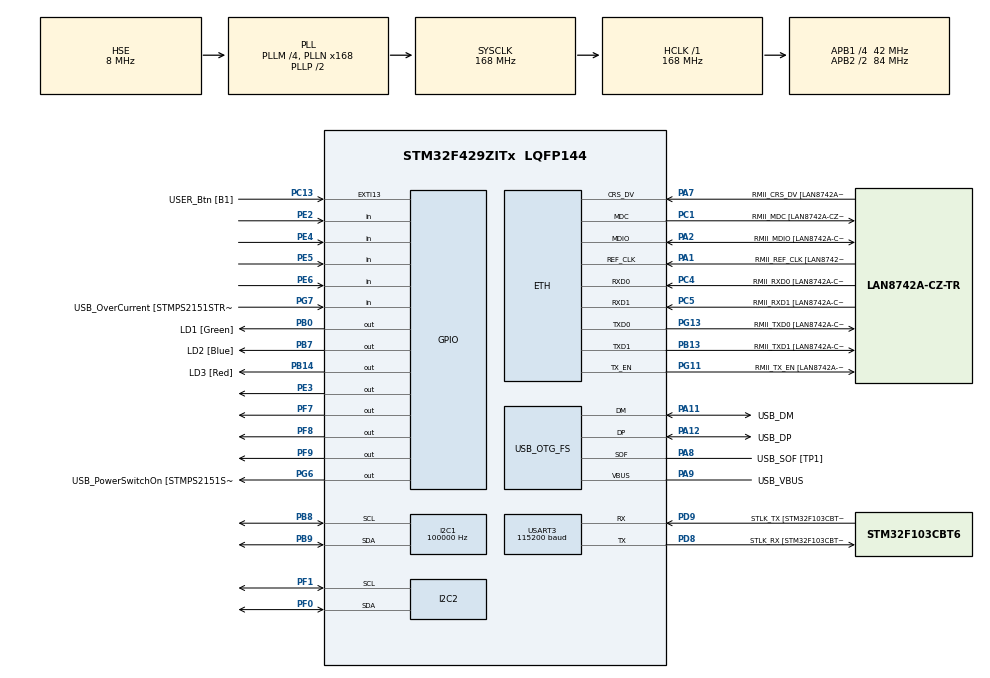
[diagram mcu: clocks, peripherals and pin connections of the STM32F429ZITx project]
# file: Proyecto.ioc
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ETH.MediaInterface=HAL_ETH_RMII_MODE
ETH.PHY_Name=LAN8742A_PHY_ADDRESS
ETH.PHY_Value=0
ETH.PhyAddress=0
I2C1.ClockSpeed=100000
I2C1.OwnAddress=0x0
Mcu.Family=STM32F4
Mcu.Name=STM32F429ZITx
Mcu.Package=LQFP144
NVIC.PriorityGroup=NVIC_PRIORITYGROUP_4
PA1.GPIO_Label=RMII_REF_CLK [LAN8742A-CZ-TR_REFCLK0]
PA1.Mode=RMII
PA1.Signal=ETH_REF_CLK
PA10.GPIO_Label=USB_ID
PA10.Signal=USB_OTG_FS_ID
PA11.GPIO_Label=USB_DM
PA11.Mode=Device_Only
PA11.Signal=USB_OTG_FS_DM
PA12.GPIO_Label=USB_DP
PA12.Mode=Device_Only
PA12.Signal=USB_OTG_FS_DP
PA13.GPIO_Label=TMS
PA13.Mode=Serial_Wire
PA13.Signal=SYS_JTMS-SWDIO
PA14.GPIO_Label=TCK
PA14.Mode=Serial_Wire
PA14.Signal=SYS_JTCK-SWCLK
PA2.GPIO_Label=RMII_MDIO [LAN8742A-CZ-TR_MDIO]
PA2.Mode=RMII
PA2.Signal=ETH_MDIO
PA7.GPIO_Label=RMII_CRS_DV [LAN8742A-CZ-TR_CRS_DV]
PA7.Mode=RMII
PA7.Signal=ETH_CRS_DV
PA8.GPIO_Label=USB_SOF [TP1]
PA8.Mode=Activate_SOF_FS
PA8.Signal=USB_OTG_FS_SOF
PA9.GPIO_Label=USB_VBUS
PA9.Mode=Activate_VBUS
PA9.Signal=USB_OTG_FS_VBUS
PB0.GPIO_Label=LD1 [Green]
PB0.Signal=GPIO_Output
PB13.GPIO_Label=RMII_TXD1 [LAN8742A-CZ-TR_TXD1]
PB13.Mode=RMII
PB13.Signal=ETH_TXD1
PB14.GPIO_Label=LD3 [Red]
PB14.Signal=GPIO_Output
PB7.GPIO_Label=LD2 [Blue]
PB7.Signal=GPIO_Output
PB8.GPIO_Pu=GPIO_PULLUP
PB8.Mode=I2C
PB8.Signal=I2C1_SCL
PB9.GPIO_Pu=GPIO_PULLUP
PB9.Mode=I2C
PB9.Signal=I2C1_SDA
PC1.GPIO_Label=RMII_MDC [LAN8742A-CZ-TR_MDC]
PC1.Mode=RMII
PC1.Signal=ETH_MDC
PC13.GPIO_Label=USER_Btn [B1]
PC13.Signal=GPXTI13
PC14/OSC32_IN.Mode=LSE-External-Oscillator
PC14/OSC32_IN.Signal=RCC_OSC32_IN
PC15/OSC32_OUT.Mode=LSE-External-Oscillator
PC15/OSC32_OUT.Signal=RCC_OSC32_OUT
PC4.GPIO_Label=RMII_RXD0 [LAN8742A-CZ-TR_RXD0]
PC4.Mode=RMII
PC4.Signal=ETH_RXD0
PC5.GPIO_Label=RMII_RXD1 [LAN8742A-CZ-TR_RXD1]
PC5.Mode=RMII
PC5.Signal=ETH_RXD1
PD8.GPIO_Label=STLK_RX [STM32F103CBT6_PA3]
PD8.Mode=Asynchronous
PD8.Signal=USART3_TX
PD9.GPIO_Label=STLK_TX [STM32F103CBT6_PA2]
PD9.Mode=Asynchronous
PD9.Signal=USART3_RX
PE2.GPIO_PuPd=GPIO_PULLUP
PE2.Signal=GPIO_Input
PE3.GPIO_ModeDefaultOutputPP=GPIO_MODE_OUTPUT_OD
PE3.GPIO_PuPd=GPIO_PULLUP
PE3.PinState=GPIO_PIN_SET
PE3.Signal=GPIO_Output
PE4.GPIO_PuPd=GPIO_PULLUP
PE4.Signal=GPIO_Input
PE5.GPIO_PuPd=GPIO_PULLUP
PE5.Signal=GPIO_Input
PE6.GPIO_PuPd=GPIO_PULLUP
PE6.Signal=GPIO_Input
PF0.GPIO_Pu=GPIO_PULLUP
PF0.Mode=I2C
PF0.Signal=I2C2_SDA
PF1.GPIO_Pu=GPIO_PULLUP
PF1.Mode=I2C
PF1.Signal=I2C2_SCL
PF7.GPIO_ModeDefaultOutputPP=GPIO_MODE_OUTPUT_OD
PF7.GPIO_PuPd=GPIO_PULLUP
PF7.PinState=GPIO_PIN_SET
PF7.Signal=GPIO_Output
PF8.GPIO_ModeDefaultOutputPP=GPIO_MODE_OUTPUT_OD
PF8.GPIO_PuPd=GPIO_PULLUP
PF8.PinState=GPIO_PIN_SET
PF8.Signal=GPIO_Output
PF9.GPIO_ModeDefaultOutputPP=GPIO_MODE_OUTPUT_OD
PF9.GPIO_PuPd=GPIO_PULLUP
PF9.PinState=GPIO_PIN_SET
PF9.Signal=GPIO_Output
PG11.GPIO_Label=RMII_TX_EN [LAN8742A-CZ-TR_TXEN]
PG11.Mode=RMII
PG11.Signal=ETH_TX_EN
PG13.GPIO_Label=RMII_TXD0 [LAN8742A-CZ-TR_TXD0]
PG13.Mode=RMII
PG13.Signal=ETH_TXD0
PG6.GPIO_Label=USB_PowerSwitchOn [STMPS2151STR_EN]
PG6.Signal=GPIO_Output
PG7.GPIO_Label=USB_OverCurrent [STMPS2151STR_FAULT]
PG7.Signal=GPIO_Input
PH0/OSC_IN.GPIO_Label=MCO [STM32F103CBT6_PA8]
PH0/OSC_IN.Mode=HSE-External-Clock-Source
PH0/OSC_IN.Signal=RCC_OSC_IN
PH1/OSC_OUT.Mode=HSE-External-Clock-Source
PH1/OSC_OUT.Signal=RCC_OSC_OUT
ProjectManager.HeapSize=0x200
ProjectManager.StackSize=0x400
ProjectManager.TargetToolchain=STM32CubeIDE
RCC.48MHZClocksFreq_Value=48000000
RCC.AHBFreq_Value=168000000
RCC.APB1CLKDivider=RCC_HCLK_DIV4
RCC.APB1Freq_Value=42000000
RCC.APB1TimFreq_Value=84000000
RCC.APB2CLKDivider=RCC_HCLK_DIV2
RCC.APB2Freq_Value=84000000
RCC.APB2TimCLKDivider=2
RCC.APB2TimFreq_Value=168000000
RCC.CortexFreq_Value=168000000
RCC.HCLKFreq_Value=168000000
RCC.HSE_VALUE=8000000
RCC.HSI_VALUE=16000000
RCC.PLLM=4
RCC.PLLMUL=RCC_PLL_MUL9
RCC.PLLN=168
RCC.PLLQ=7
RCC.PRESCALERUSB=RCC_USBCLKSOURCE_PLL_DIV1_5
RCC.SYSCLKFreq_VALUE=168000000
RCC.SYSCLKSource=RCC_SYSCLKSOURCE_PLLCLK
RCC.SYSCLKSourceVirtual=RCC_SYSCLKSOURCE_PLLCLK
RCC.USBFreq_Value=48000000
RCC.VCOOutputFreq_Value=336000000
USART3.BaudRate=115200
USART3.VirtualMode=VM_ASYNC
USART3.WordLength=WORDLENGTH_8B
USB_OTG_FS.VirtualMode=Device_Only
board=NUCLEO-F429ZI

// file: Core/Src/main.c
/* USER CODE BEGIN Header */
/**
 ******************************************************************************
 * @file           : main.c
 * @brief          : Main program body
 ******************************************************************************
 * @attention
 *
 * Copyright (c) 2024 STMicroelectronics.
 * All rights reserved.
 *
 * This software is licensed under terms that can be found in the LICENSE file
 * in the root directory of this software component.
 * If no LICENSE file comes with this software, it is provided AS-IS.
 *
 ******************************************************************************
 */
/* USER CODE END Header */
#include "main.h"
#include "i2c.h"
#include "usart.h"
#include "gpio.h"

/* USER CODE BEGIN PM */

/* Hago overflow a 0 cuando la variable llega al límite dado */
#define INC_SATURADO(variable, limite) do { \
    (variable)++; \
    if ((variable) >= (limite)) { \
        (variable) = 0; \
    } \
} while (0)

/* Devuelvo el tamaño de un array */
#define DIM(x) (sizeof(x)/sizeof(x[0]))

/* USER CODE END PM */

/* USER CODE BEGIN PV */

static const tick_t FAST_LED_TICKS = 100;
static const tick_t SLOW_LED_TICKS = 500;

/* USER CODE END PV */

void SystemClock_Config(void);

/* USER CODE BEGIN 0 */

void presionado()
{
    uartSendString((const uint8_t*) "Flanco descendente\r\n");
}

void liberado()
{
    uartSendString((const uint8_t*) "Flanco ascendente\r\n");
}

/* USER CODE END 0 */

int main(void)
{

    /* MCU Configuration--------------------------------------------------------*/

    /* Reset of all peripherals, Initializes the Flash interface and the Systick. */
    HAL_Init();

    /* Configure the system clock */
    SystemClock_Config();

    /* Initialize all configured peripherals */
    MX_GPIO_Init();
    MX_USART3_UART_Init();
    MX_I2C1_Init();
    MX_I2C2_Init();
    /* USER CODE BEGIN 2 */

    /* Init code */
    BSP_LED_Init(LED1);
    BSP_LED_Init(LED2);
    BSP_LED_Init(LED3);
    BSP_PB_Init(BUTTON_USER, BUTTON_MODE_GPIO);

    debounceFSM_init(presionado, liberado);
    assert(uartInit());

    bool fast = false;
    delay_t led_delay;
    delayInit(&led_delay, fast ? FAST_LED_TICKS : SLOW_LED_TICKS);

    /* USER CODE END 2 */

    /* Infinite loop */
    /* USER CODE BEGIN WHILE */
    uartSendString((const uint8_t*) "Iniciando programa\r\n");

    display_Init();
    keyboard_Init();
    sensor_Init();

    display_Clear();

    delay_t temp_delay;
    delayInit(&temp_delay, 2000);

    float temp = -100.0;

    while (1) {
        /* USER CODE END WHILE */

        /* USER CODE BEGIN 3 */
        debounceFSM_update();
        display_Process();
        keyboard_Process();
        sensor_Process();

        int key = keyboard_ReadKey();
        switch (key) {
        case -1:
            break;
        case 'B':
            fast = !fast;
            break;
        case 'A': {
            temp = sensor_ReadTemp();
            int t = (int) temp;
            float fraction = temp - (float) t;
            int decimal_fraction = (int) (fraction * 100.0);
            display_Clear();
            display_Print("Temp: %d.%02d", t, decimal_fraction);
            break;
        }
        default:
            display_Clear();
            display_Print("Pressed: %c", (char) key);
        }

        if (delayRead(&led_delay)) {
            delayWrite(&led_delay, fast ? FAST_LED_TICKS : SLOW_LED_TICKS);
            BSP_LED_Toggle(LED1);
        }
    }
    /* USER CODE END 3 */
}

void SystemClock_Config(void)
{
    RCC_OscInitTypeDef RCC_OscInitStruct = { 0 };
    RCC_ClkInitTypeDef RCC_ClkInitStruct = { 0 };

    /** Configure the main internal regulator output voltage
     */
    __HAL_RCC_PWR_CLK_ENABLE();
    __HAL_PWR_VOLTAGESCALING_CONFIG(PWR_REGULATOR_VOLTAGE_SCALE1);

    /** Initializes the RCC Oscillators according to the specified parameters
     * in the RCC_OscInitTypeDef structure.
     */
    RCC_OscInitStruct.OscillatorType = RCC_OSCILLATORTYPE_HSE;
    RCC_OscInitStruct.HSEState = RCC_HSE_BYPASS;
    RCC_OscInitStruct.PLL.PLLState = RCC_PLL_ON;
    RCC_OscInitStruct.PLL.PLLSource = RCC_PLLSOURCE_HSE;
    RCC_OscInitStruct.PLL.PLLM = 4;
    RCC_OscInitStruct.PLL.PLLN = 168;
    RCC_OscInitStruct.PLL.PLLP = RCC_PLLP_DIV2;
    RCC_OscInitStruct.PLL.PLLQ = 7;
    if (HAL_RCC_OscConfig(&RCC_OscInitStruct) != HAL_OK) {
        Error_Handler();
    }

    /** Initializes the CPU, AHB and APB buses clocks
     */
    RCC_ClkInitStruct.ClockType = RCC_CLOCKTYPE_HCLK | RCC_CLOCKTYPE_SYSCLK
                    | RCC_CLOCKTYPE_PCLK1 | RCC_CLOCKTYPE_PCLK2;
    RCC_ClkInitStruct.SYSCLKSource = RCC_SYSCLKSOURCE_PLLCLK;
    RCC_ClkInitStruct.AHBCLKDivider = RCC_SYSCLK_DIV1;
    RCC_ClkInitStruct.APB1CLKDivider = RCC_HCLK_DIV4;
    RCC_ClkInitStruct.APB2CLKDivider = RCC_HCLK_DIV2;

    if (HAL_RCC_ClockConfig(&RCC_ClkInitStruct, FLASH_LATENCY_5) != HAL_OK) {
        Error_Handler();
    }
}

void Error_Handler(void)
{
    __disable_irq();
    while (1) {
    }
}
